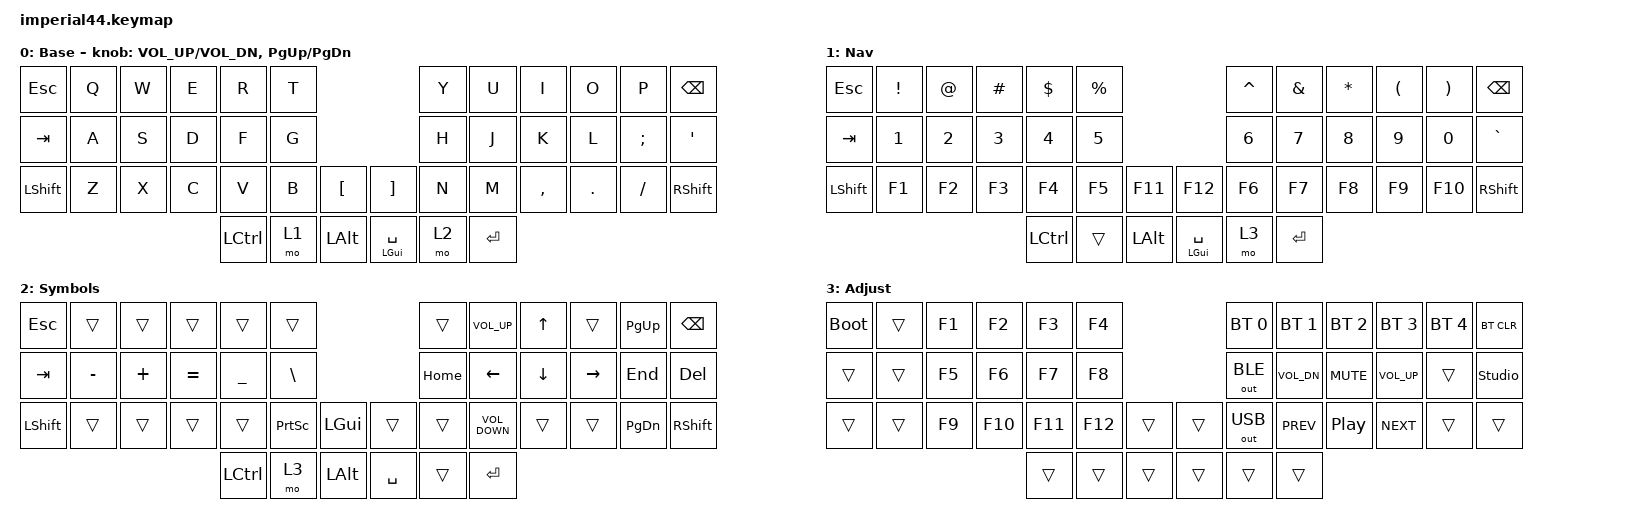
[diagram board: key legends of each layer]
#include "keys_ru.h"
#include <behaviors.dtsi>
#include <dt-bindings/zmk/bt.h>
#include <dt-bindings/zmk/keys.h>
#include <dt-bindings/zmk/outputs.h>

/ {
    behaviors {
        thumb_ht: thumb_ht {
            compatible = "zmk,behavior-hold-tap";
            label = "THUMB_HT";
            bindings = <&kp>, <&kp>;

            #binding-cells = <2>;
            tapping-term-ms = <200>;
            quick-tap-ms = <175>;
            require-prior-idle-ms = <125>;
            flavor = "balanced";
            retro-tap;
        };
    };

    keymap {
        compatible = "zmk,keymap";

        base {
            bindings = <
&kp ESC    &kp Q  &kp W  &kp E  &kp R      &kp T                                        &kp Y  &kp U      &kp I      &kp O    &kp P     &kp BACKSPACE
&kp TAB    &kp A  &kp S  &kp D  &kp F      &kp G                                        &kp H  &kp J      &kp K      &kp L    &kp SEMI  &kp SINGLE_QUOTE
&kp LSHFT  &kp Z  &kp X  &kp C  &kp V      &kp B  &kp LBKT        &kp RBKT              &kp N  &kp M      &kp COMMA  &kp DOT  &kp FSLH  &kp RSHFT
                                &kp LCTRL  &mo 1  &kp LEFT_ALT    &thumb_ht LGUI SPACE  &mo 2  &kp ENTER
            >;

            display-name = "Base";
            sensor-bindings =
                <&inc_dec_kp C_VOL_UP C_VOL_DN>,
                <&inc_dec_kp PG_UP PG_DN>;
        };

        nav {
            bindings = <
&kp ESCAPE      &kp EXCL      &kp AT        &kp HASH      &kp DOLLAR    &kp PERCENT                                         &kp CARET     &kp AMPERSAND  &kp ASTERISK  &kp LEFT_PARENTHESIS  &kp RPAR      &kp BACKSPACE
&kp TAB         &kp NUMBER_1  &kp NUMBER_2  &kp NUMBER_3  &kp NUMBER_4  &kp NUMBER_5                                        &kp NUMBER_6  &kp NUMBER_7   &kp NUMBER_8  &kp NUMBER_9          &kp NUMBER_0  &kp GRAVE
&kp LEFT_SHIFT  &kp F1        &kp F2        &kp F3        &kp F4        &kp F5        &kp F11         &kp F12               &kp F6        &kp F7         &kp F8        &kp F9                &kp F10       &kp RIGHT_SHIFT
                                                          &kp LCTRL     &trans        &kp LEFT_ALT    &thumb_ht LGUI SPACE  &mo 3         &kp ENTER
            >;

            display-name = "Nav";
        };

        sym {
            bindings = <
&kp ESCAPE  &trans     &trans    &trans     &trans     &trans                                      &trans    &kp C_VOLUME_UP    &kp UP    &trans     &kp PAGE_UP    &kp BACKSPACE
&kp TAB     &kp MINUS  &kp PLUS  &kp EQUAL  &kp UNDER  &kp BACKSLASH                               &kp HOME  &kp LEFT           &kp DOWN  &kp RIGHT  &kp END        &kp DELETE
&kp LSHFT   &trans     &trans    &trans     &trans     &kp PRINTSCREEN  &kp LEFT_GUI    &trans     &trans    &kp C_VOLUME_DOWN  &trans    &trans     &kp PAGE_DOWN  &kp RSHFT
                                            &kp LCTRL  &mo 3            &kp LALT        &kp SPACE  &trans    &kp ENTER
            >;

            display-name = "Symbols";
        };

        adj {
            bindings = <
&bootloader  &trans  &kp F1  &kp F2   &kp F3   &kp F4                     &bt BT_SEL 0  &bt BT_SEL 1  &bt BT_SEL 2      &bt BT_SEL 3  &bt BT_SEL 4  &bt BT_CLR
&trans       &trans  &kp F5  &kp F6   &kp F7   &kp F8                     &out OUT_BLE  &kp C_VOL_DN  &kp C_MUTE        &kp C_VOL_UP  &trans        &studio_unlock
&trans       &trans  &kp F9  &kp F10  &kp F11  &kp F12  &trans    &trans  &out OUT_USB  &kp C_PREV    &kp C_PLAY_PAUSE  &kp C_NEXT    &trans        &trans
                                      &trans   &trans   &trans    &trans  &trans        &trans
            >;

            display-name = "Adjust";
        };
    };
};
